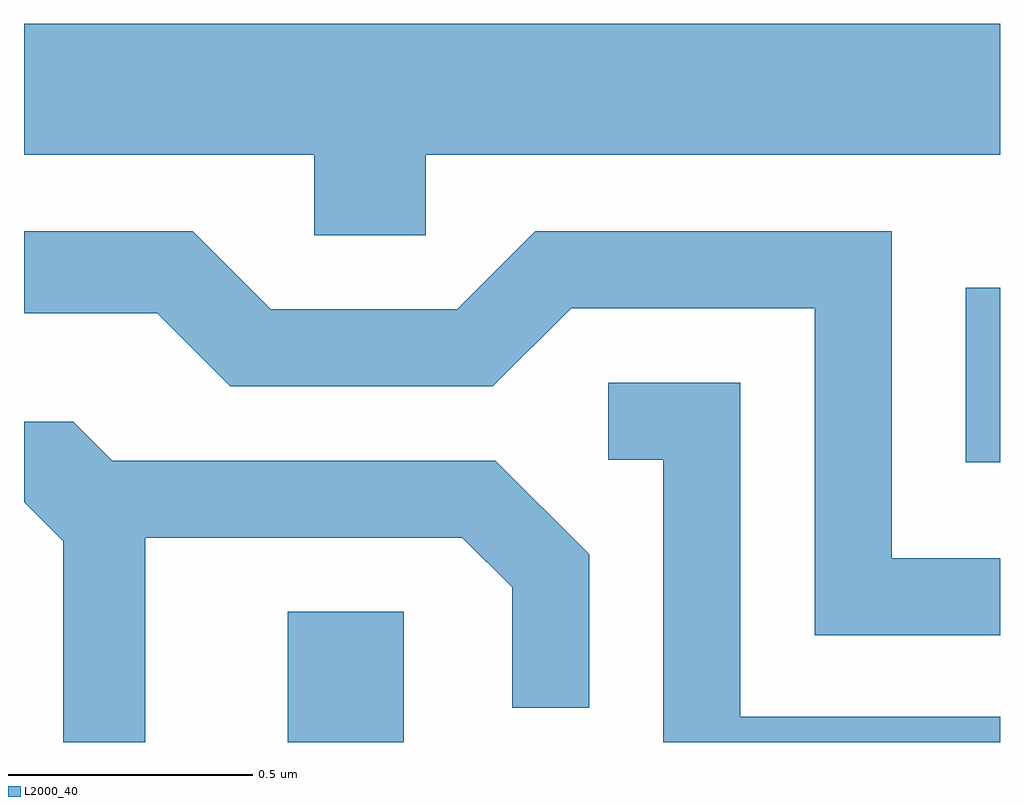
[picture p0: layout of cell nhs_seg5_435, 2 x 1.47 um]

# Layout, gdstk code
import gdstk
lib = gdstk.Library(unit=1e-6, precision=1e-09)
def R(c, l, rs):  # rectangles x0, y0, x1, y1
    for r in rs: c.add(gdstk.rectangle(r[:2], r[2:], *l))
def P(c, l, *ps):  # polygons
    for p in ps: c.add(gdstk.Polygon(p, *l))
L2000_40 = (2000, 40)

nhs_seg5_435 = lib.new_cell('nhs_seg5_435')
R(nhs_seg5_435, L2000_40, [(189.151,1420.072,189.389,1420.339), (190.541,1420.646,190.611,1421.003)])
P(nhs_seg5_435, L2000_40, [(189.434,1421.276),(190.611,1421.276),(190.611,1421.544),(188.611,1421.544),(188.611,1421.276),(189.206,1421.276),(189.206,1421.111),(189.434,1421.111)],
  [(190.611,1420.449),(190.389,1420.449),(190.389,1421.119),(189.659,1421.119),(189.499,1420.959),(189.117,1420.959),(188.957,1421.119),(188.611,1421.119),(188.611,1420.951),(188.884,1420.951),(189.034,1420.801),(189.572,1420.801),(189.732,1420.961),(190.231,1420.961),(190.231,1420.291),(190.611,1420.291)],
  [(190.611,1420.124),(190.079,1420.124),(190.079,1420.809),(189.808,1420.809),(189.808,1420.651),(189.921,1420.651),(189.921,1420.072),(190.611,1420.072)],
  [(188.859,1420.491),(189.509,1420.491),(189.611,1420.389),(189.611,1420.143),(189.769,1420.143),(189.769,1420.457),(189.577,1420.649),(188.792,1420.649),(188.712,1420.729),(188.611,1420.729),(188.611,1420.564),(188.691,1420.484),(188.691,1420.072),(188.859,1420.072)])

lib.write_gds('nhs_seg5_435.gds')
